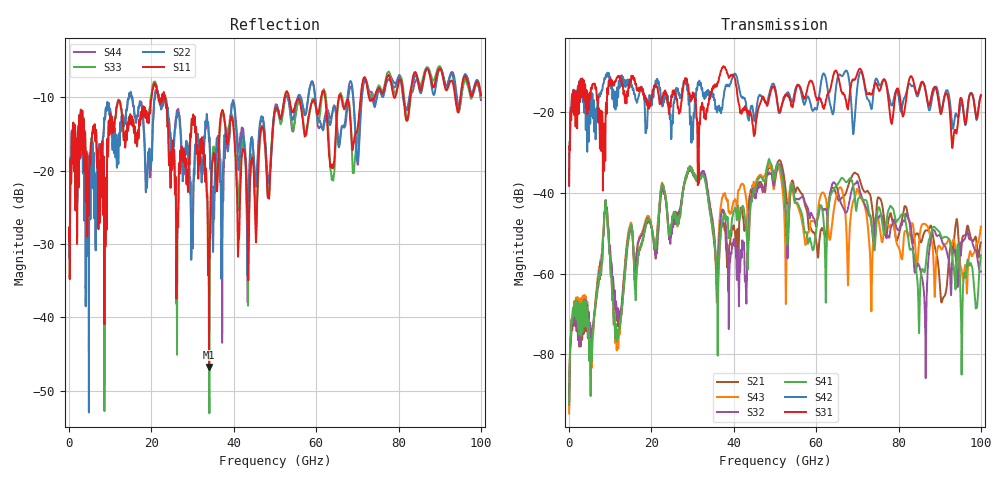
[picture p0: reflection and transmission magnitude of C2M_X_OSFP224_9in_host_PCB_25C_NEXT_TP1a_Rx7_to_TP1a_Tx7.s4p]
# GHz S RI R 45
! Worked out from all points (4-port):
!   4000 points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, 25 MHz to 100 GHz, reference 45 ohm
!   strongest paths, dB at 25 MHz, 25.02 GHz, 50.02 GHz, 75.03 GHz, 100 GHz:
!     S31: -38.3, -16.2, -14.5, -14.0, -15.7
!     S42: -37.9, -22.2, -13.8, -12.5, -15.9
!     S41: -92.6, -46.4, -35.8, -43.8, -55.5
!     S32: -92.5, -49.1, -36.5, -46.2, -59.5
!     S43: -94.7, -47.9, -37.2, -46.2, -48.4
!     S21: -93.2, -47.0, -34.8, -41.1, -52.3
!   lowest |S11| = -46.8 dB at 34 GHz (marker M1), VSWR 1.01, Z = 45.3 + j0.277 ohm
!   |S11| at or under -10 dB: start of sweep to 20.07 GHz; 23.4 GHz to 52.36 GHz (28.96 GHz wide, 76.5 % of centre); 53.38 GHz to 61.19 GHz (7.806 GHz wide, 13.6 % of centre) (the widest 3 of 12)
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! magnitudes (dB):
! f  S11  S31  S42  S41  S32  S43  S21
! 25 MHz  -29.5  -38.3  -37.9  -92.6  -92.5  -94.7  -93.2
! 5.4 GHz  -16.3  -14.0  -16.4  -78.9  -73.7  -77.2  -74.9
! 8.925 GHz  -23.0  -18.7  -10.8  -42.2  -41.9  -42.0  -42.1
! 11.65 GHz  -11.2  -11.3  -16.8  -75.2  -70.3  -76.9  -71.6
! 14.82 GHz  -12.7  -11.9  -12.9  -48.7  -48.6  -47.9  -49.3
! 34 GHz  -46.8  -16.7  -15.2  -43.0  -41.6  -41.9  -42.8
! 100 GHz  -9.8  -15.7  -15.9  -55.5  -59.5  -48.4  -52.3
